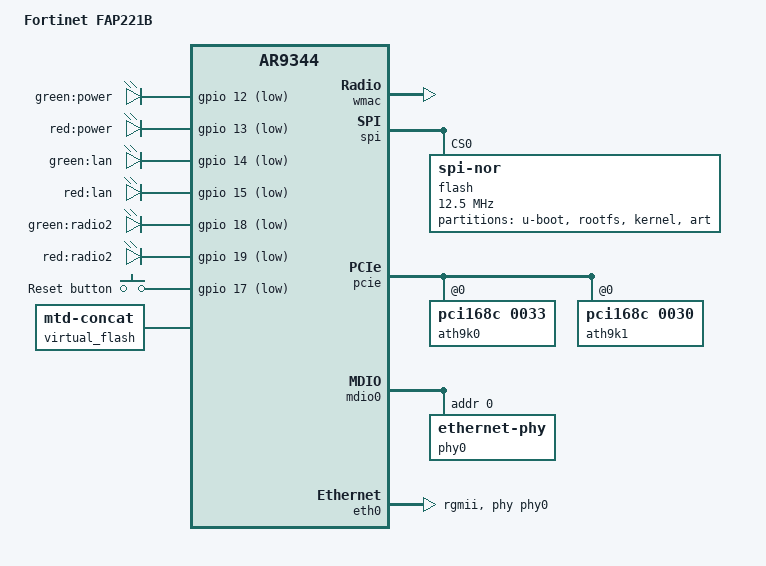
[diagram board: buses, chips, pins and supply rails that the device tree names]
// SPDX-License-Identifier: GPL-2.0-or-later OR MIT

#include "ar9344.dtsi"

#include <dt-bindings/gpio/gpio.h>
#include <dt-bindings/input/input.h>

/ {
	compatible = "fortinet,fap221b", "qca,ar9344";
	model = "Fortinet FAP221B";

	chosen {
		bootargs = "console=ttyS0,9600n8";
	};

	aliases {
		led-boot = &led_power_green;
		led-failsafe = &led_power_red;
		led-running = &led_power_green;
		led-upgrade = &led_power_red;
	};

	leds {
		compatible = "gpio-leds";

		pinctrl-names = "default";
		pinctrl-0 = <&enable_gpio_12 &enable_gpio_13 &enable_gpio_17 &enable_gpio_18 &enable_gpio_19>;

		led_power_green: power_green {
			label = "green:power";
			gpios = <&gpio 12 GPIO_ACTIVE_LOW>;
		};

		led_power_red: power_red {
			label = "red:power";
			gpios = <&gpio 13 GPIO_ACTIVE_LOW>;
		};

        lan_green {
			label = "green:lan";
			gpios = <&gpio 14 GPIO_ACTIVE_LOW>;
			default-state = "on";
		};


		lan_red {
			label = "red:lan";
			gpios = <&gpio 15 GPIO_ACTIVE_LOW>;
		};

		wifi_green {
			label = "green:radio2";
			gpios = <&gpio 18 GPIO_ACTIVE_LOW>;
			linux,default-trigger = "phy0tpt";
		};

		wifi_red {
			label = "red:radio2";
			gpios = <&gpio 19 GPIO_ACTIVE_LOW>;
			linux,default-trigger = "phy1tpt";
		};
	};

	keys {
		compatible = "gpio-keys";

		reset {
			label = "Reset button";
			linux,code = <KEY_RESTART>;
			gpios = <&gpio 17 GPIO_ACTIVE_LOW>;
		};
	};

	virtual_flash {
		compatible = "mtd-concat";
		devices = <&fwconcat0 &fwconcat1>;

		partitions {
			compatible = "fixed-partitions";
			#address-cells = <1>;
			#size-cells = <1>;

			partition@0 {
				reg = <0x0 0x0>;
				label = "firmware";
				compatible = "openwrt,uimage";
			};
		};
	};
};

&ref {
	clock-frequency = <25000000>;
};


&pinmux {
    enable_gpio_12: pinmux_enable_gpio_12 {
        pinctrl-single,bits = <0xc 0x0 0x000000ff>;
    };

    enable_gpio_13: pinmux_enable_gpio_13 {
        pinctrl-single,bits = <0xc 0x0 0x0000ff00>;
    };

    enable_gpio_17: pinmux_enable_gpio_17 {
		pinctrl-single,bits = <0x10 0x0 0x0000ff00>;
	};

    enable_gpio_18: pinmux_enable_gpio_18 {
		pinctrl-single,bits = <0x10 0x0 0x00ff0000>;
	};

    enable_gpio_19: pinmux_enable_gpio_19 {
		pinctrl-single,bits = <0x10 0x0 0xff000000>;
	};
	
};

&wmac {
	status = "okay";
	qca,no-eeprom;
};

&spi {
	status = "okay";

	flash@0 {
		compatible = "jedec,spi-nor";
		reg = <0>;
		spi-max-frequency = <12500000>;

		partitions {
			compatible = "fixed-partitions";
			#address-cells = <1>;
			#size-cells = <1>;

			partition@0 {
				label = "u-boot";
				reg = <0x000000 0x40000>;
				read-only;
			};

			fwconcat1: partition@40000 {
				label = "rootfs";
				reg = <0x40000 0x900000>;
			};

			fwconcat0: partition@940000 {
				label = "kernel";
				reg = <0x940000 0x6B0000>;
			};

			partition@FF0000 {
				label = "art";
				reg = <0xff0000 0x00010000>;
				read-only;
			};
		};
	};
};

&pcie {
	status = "okay";

	ath9k0: wifi@0,0 {
		compatible = "pci168c,0033";
		reg = <0x0000 0 0 0 0>;
		qca,no-eeprom;
		#gpio-cells = <2>;
		gpio-controller;
	};

	ath9k1: wifi@1,0 {
		compatible = "pci168c,0030";
		reg = <0x0000 0 0 0 0>;
		qca,no-eeprom;
		#gpio-cells = <2>;
		gpio-controller;
	};
};

&mdio0 {
	status = "okay";

	phy0: ethernet-phy@0 {
		reg = <0>;
	};
};

&eth0 {
	status = "okay";

	pll-data = <0x1e000000 0x08000101 0x08001313>;

	phy-mode = "rgmii";
	phy-handle = <&phy0>;

	gmac-config {
		device = <&gmac>;
		rgmii-gmac0 = <1>;
		rxd-delay = <0>;
		rxdv-delay = <0>;
		txen-delay = <0>;
		txd-delay = <0>;
	};
};
